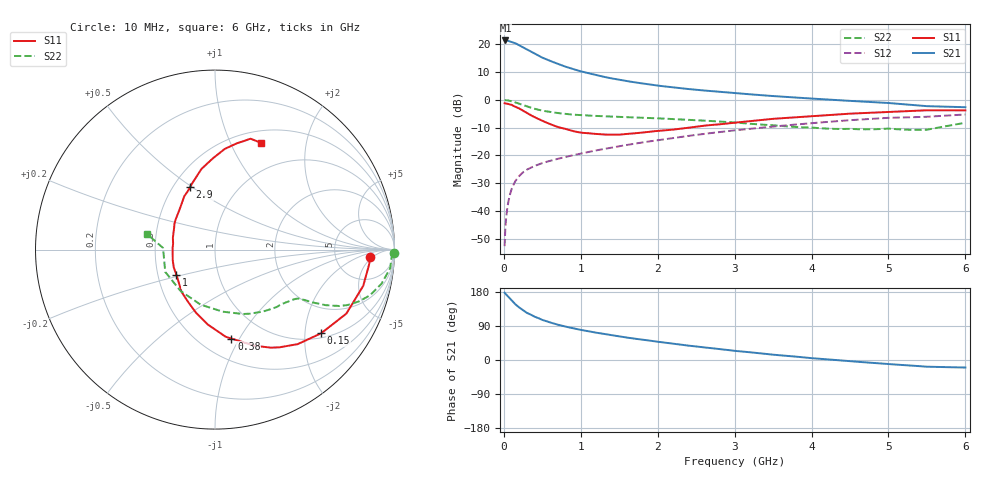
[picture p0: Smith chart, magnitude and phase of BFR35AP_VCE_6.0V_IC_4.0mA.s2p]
! Infineon Technologies  Discrete & RF Semiconductors
! BFR35AP
! VCE =  6.0 V,  IC =  4.0 mA
! Common Emitter S-Parameters:  Nov 2015
# GHz  S  MA  R  50
!  f  S11  S21  S12  S22
! GHz  MAG  ANG  MAG  ANG  MAG  ANG  MAG  ANG
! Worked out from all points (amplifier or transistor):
!   210 points, 10 MHz to 6 GHz, reference 50 ohm
!   highest |S21| = 21.4 dB at 20 MHz (marker M1)
!   |S21| within 3 dB of that: start of sweep to 284.4 MHz
!   unconditionally stable (mu >= 1): 899 MHz to 3.264 GHz
!   at 185 MHz: K = 0.33, MSG = 23.9 dB, |S12| = -28.0 dB
!   at 1.52 GHz: K = 1.12, MAG = 9.8 dB, |S12| = -16.6 dB
!   at 6 GHz: K = 0.93, MSG = 1.3 dB, |S12| = -5.3 dB
!   S11 on the Smith chart (normalised r, x): 10 MHz: 13, -4; 150 MHz: 1.13, -2.42; 380 MHz: 0.70, -0.93; 1 GHz: 0.62, -0.19; 2.9 GHz: 0.61, +0.49; 6 GHz: 0.64, +1.31
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0.01  0.8672 -2.8  11.65 177.6  0.0023 87.1  0.9953 -1.1
0.02  0.8624 -5.6  11.78 175.0  0.005 91.4  0.9849 -2.4
0.05  0.8503 -13.7  11.69 168.5  0.0124 82.2  0.9815 -6.1
0.1  0.814 -26.0  11.1 157.9  0.0244 75.8  0.9477 -11.5
0.15  0.7527 -38.3  10.51 147.0  0.0343 70.0  0.9019 -16.3
0.2  0.6993 -48.9  9.673 138.6  0.0424 65.7  0.8523 -19.8
0.26  0.6282 -60.4  8.688 129.7  0.0506 61.7  0.7963 -22.9
0.3  0.5796 -67.6  8.135 124.3  0.0552 60.0  0.7611 -24.4
0.38  0.5041 -79.5  7.09 116.6  0.0625 57.3  0.7031 -26.2
0.4  0.4892 -83.0  6.853 114.3  0.0643 56.7  0.6887 -26.7
0.5  0.4204 -95.3  5.775 105.8  0.0723 55.1  0.6386 -27.9
0.6  0.3667 -106.9  5.042 99.1  0.0796 54.7  0.6053 -28.7
0.8  0.2998 -128.6  3.975 88.1  0.0934 55.1  0.5582 -29.8
1  0.2568 -146.8  3.271 79.5  0.1076 56.1  0.5306 -31.0
1.02  0.2549 -148.7  3.221 78.8  0.1091 56.1  0.5287 -31.2
1.4  0.2365 178.3  2.438 65.5  0.1371 56.6  0.5006 -35.3
2.02  0.277 141.9  1.794 47.7  0.1895 55.3  0.4633 -44.5
2.9  0.3744 111.8  1.361 26.6  0.272 49.4  0.3992 -63.7
3.1  0.4006 107.2  1.293 22.4  0.2914 47.3  0.3806 -69.4
4.1  0.5193 89.8  1.035 3.4  0.3896 36.4  0.3091 -109.4
5.1  0.6132 77.0  0.856 -12.1  0.478 22.3  0.2962 -160.8
6  0.6476 66.7  0.737 -19.9  0.5456 11.5  0.3859 167.3
